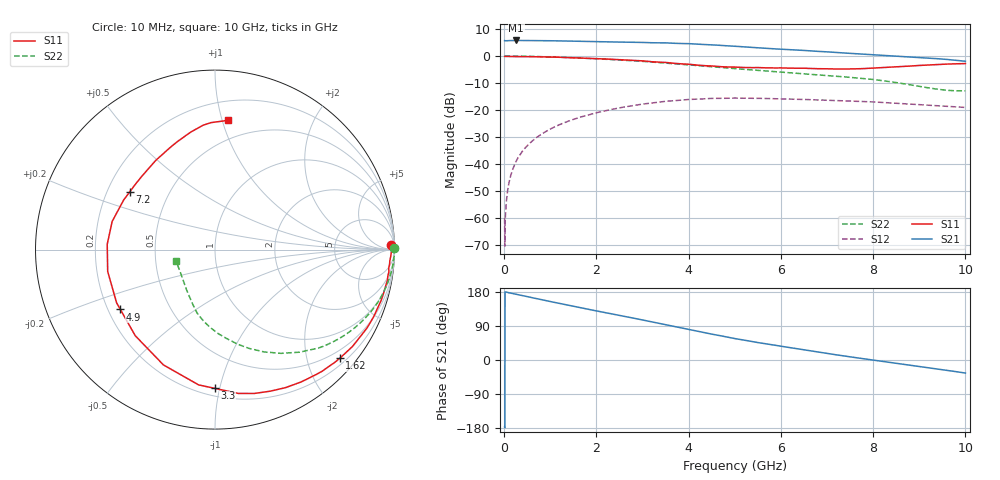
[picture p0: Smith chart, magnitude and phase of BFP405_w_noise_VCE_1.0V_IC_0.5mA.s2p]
! Infineon Technologies  Discrete & RF Semiconductors
! BFP405
! VCE =  1.0 V,  IC =  0.5 mA
! Common Emitter S-Parameters:  Jan 2016
# GHz  S  MA  R  50
!  f  S11  S21  S12  S22
! GHz  MAG  ANG  MAG  ANG  MAG  ANG  MAG  ANG
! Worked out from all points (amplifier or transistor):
!   233 points, 10 MHz to 10 GHz, reference 50 ohm
!   highest |S21| = 5.8 dB at 260 MHz (marker M1)
!   |S21| within 3 dB of that: start of sweep to 5.755 GHz
!   unconditionally stable (mu >= 1): 14.65 MHz to 15.16 MHz; 5.531 GHz to end of sweep
!   at 200 MHz: K = 0.01, MSG = 23.5 dB, |S12| = -41.3 dB
!   at 1.74 GHz: K = 0.20, MSG = 13.8 dB, |S12| = -22.2 dB
!   at 10 GHz: K = 2.42, MAG = 1.9 dB, |S12| = -19.1 dB
!   lowest NFmin = 0.78 dB at 900 MHz
!   S11 on the Smith chart (normalised r, x): 10 MHz: 32, +51; 1.62 GHz: 0.33, -2.63; 3.3 GHz: 0.25, -0.96; 4.9 GHz: 0.25, -0.27; 7.2 GHz: 0.29, +0.28; 10 GHz: 0.35, +1.05
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0.01  0.9824 1.6  1.925 -177.1  0.001 -51.4  1 0.5
0.015  0.9831 0.6  1.919 -178.7  0.0003 1.2  0.9981 0.4
0.02  0.9841 -0.3  1.914 179.6  0.0008 98.2  0.9962 0.2
0.04  0.9826 -0.8  1.911 179.4  0.0017 94.0  0.9983 -0.3
0.065  0.9811 -1.5  1.915 178.7  0.0028 91.1  0.9995 -0.8
0.13  0.9773 -3.1  1.929 176.8  0.0056 88.6  0.9982 -2.0
0.26  0.9741 -6.3  1.939 173.5  0.0112 86.7  0.9905 -4.2
0.44  0.9744 -10.8  1.931 168.8  0.0192 84.0  0.9902 -7.0
0.74  0.9657 -18.2  1.923 161.1  0.0326 79.3  0.9772 -11.7
1.62  0.9213 -41.1  1.875 138.8  0.0723 63.9  0.918 -24.9
1.68  0.918 -42.6  1.87 137.4  0.0749 62.8  0.9129 -25.7
2.54  0.851 -66.9  1.807 116.7  0.1109 47.0  0.8393 -37.3
3.3  0.7728 -90.2  1.753 98.2  0.1377 32.0  0.7613 -47.6
3.4  0.7648 -93.5  1.75 95.7  0.1411 30.2  0.7508 -49.0
4  0.7038 -114.1  1.692 80.6  0.1565 18.5  0.6854 -57.5
4.9  0.6239 -147.7  1.534 59.0  0.1652 1.7  0.5927 -69.4
5.1  0.6164 -154.9  1.496 54.6  0.1654 -1.7  0.5748 -71.9
6  0.6012 177.2  1.336 36.3  0.161 -14.7  0.5039 -81.9
6.8  0.5814 156.9  1.218 21.2  0.1535 -23.8  0.4481 -91.1
7.2  0.5738 146.0  1.16 13.7  0.1494 -27.9  0.4214 -95.7
8.4  0.6217 113.6  1.004 -7.1  0.1348 -38.7  0.3312 -111.7
10  0.724 84.2  0.799 -34.5  0.1113 -45.3  0.226 -164.2
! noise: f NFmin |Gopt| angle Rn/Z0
0.9  0.78  0.8  16  0.85
1.8  1.31  0.68  35  0.8
2.4  1.61  0.59  48  0.67
3  1.86  0.58  63  0.64
4  2.16  0.46  92  0.41
5  2.4  0.46  126  0.24
